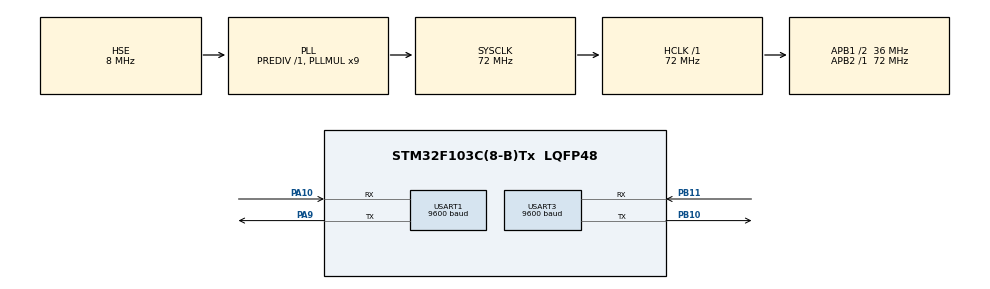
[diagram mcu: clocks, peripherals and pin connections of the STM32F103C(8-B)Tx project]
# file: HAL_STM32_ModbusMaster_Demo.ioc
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Mcu.Family=STM32F1
Mcu.Name=STM32F103C(8-B)Tx
Mcu.Package=LQFP48
NVIC.PriorityGroup=NVIC_PRIORITYGROUP_4
NVIC.TIM3_IRQn=true\:2\:0\:true\:false\:true\:true\:true\:true
NVIC.USART3_IRQn=true\:1\:0\:true\:false\:true\:true\:true\:true
PA10.Mode=Asynchronous
PA10.Signal=USART1_RX
PA13.Mode=Serial_Wire
PA13.Signal=SYS_JTMS-SWDIO
PA14.Mode=Serial_Wire
PA14.Signal=SYS_JTCK-SWCLK
PA9.Mode=Asynchronous
PA9.Signal=USART1_TX
PB10.Mode=Asynchronous
PB10.Signal=USART3_TX
PB11.Mode=Asynchronous
PB11.Signal=USART3_RX
PD0-OSC_IN.Mode=HSE-External-Oscillator
PD0-OSC_IN.Signal=RCC_OSC_IN
PD1-OSC_OUT.Mode=HSE-External-Oscillator
PD1-OSC_OUT.Signal=RCC_OSC_OUT
ProjectManager.HeapSize=0x200
ProjectManager.StackSize=0x400
ProjectManager.TargetToolchain=MDK-ARM V5
RCC.AHBFreq_Value=72000000
RCC.APB1CLKDivider=RCC_HCLK_DIV2
RCC.APB1Freq_Value=36000000
RCC.APB1TimFreq_Value=72000000
RCC.APB2Freq_Value=72000000
RCC.APB2TimFreq_Value=72000000
RCC.HCLKFreq_Value=72000000
RCC.PLLMUL=RCC_PLL_MUL9
RCC.PLLSourceVirtual=RCC_PLLSOURCE_HSE
RCC.SYSCLKFreq_VALUE=72000000
RCC.SYSCLKSource=RCC_SYSCLKSOURCE_PLLCLK
RCC.USBFreq_Value=72000000
TIM3.AutoReloadPreload=TIM_AUTORELOAD_PRELOAD_ENABLE
TIM3.Period=49
TIM3.Prescaler=7199
USART1.BaudRate=9600
USART1.VirtualMode=VM_ASYNC
USART3.BaudRate=9600
USART3.VirtualMode=VM_ASYNC
VP_TIM3_VS_ClockSourceINT.Mode=Internal
board=custom

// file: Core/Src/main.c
/* USER CODE BEGIN Header */
/**
  ******************************************************************************
  * @file           : main.c
  * @brief          : Main program body
  ******************************************************************************
  * @attention
  *
  * <h2><center>&copy; Copyright (c) 2022 STMicroelectronics.
  * All rights reserved.</center></h2>
  *
  * This software component is licensed by ST under BSD 3-Clause license,
  * the "License"; You may not use this file except in compliance with the
  * License. You may obtain a copy of the License at:
  *                        opensource.org/licenses/BSD-3-Clause
  *
  ******************************************************************************
  */
/* USER CODE END Header */
#include "main.h"
#include "tim.h"
#include "usart.h"
#include "gpio.h"

/* USER CODE BEGIN Includes */
#include <stdio.h>
#include <stdlib.h>
#include "mbrtu_master.h"
/* USER CODE END Includes */

void SystemClock_Config(void);

/* USER CODE BEGIN 0 */

#include <string.h>

uint8_t g_Uart3RxByte;

extern int main_example(void);
extern MBRTUMaterTypeDef MBRTUHandle;

int main(void)
{
    HAL_Init();
    SystemClock_Config();
    MX_GPIO_Init();
    MX_TIM3_Init();
    MX_USART1_UART_Init();
    MX_USART3_UART_Init();

    __HAL_TIM_CLEAR_FLAG(&htim3, TIM_FLAG_UPDATE);
    HAL_UART_Receive_IT(&huart3, &g_Uart3RxByte, 1);

	main_example();

    while (1)
    {

    }
}

void HAL_UART_RxCpltCallback(UART_HandleTypeDef *huart)
{
    if(huart->Instance == huart3.Instance)
    {
        MBRTUMasterRecvByteISRCallback(&MBRTUHandle, g_Uart3RxByte);
        HAL_UART_Receive_IT(&huart3, &g_Uart3RxByte, 1);  // 注册接收
    }
}

void HAL_TIM_PeriodElapsedCallback(TIM_HandleTypeDef *htim)
{
    if(htim->Instance == htim3.Instance)
    {
        MBRTUMasterTimerISRCallback(&MBRTUHandle);
    }
}

int fputc(int ch, FILE* fp)
{
    HAL_UART_Transmit(&huart1, (uint8_t *)&ch, 1, 100);
    return ch;
}

/* USER CODE END 0 */

int main2(void)
{

    /* MCU Configuration--------------------------------------------------------*/

    /* Reset of all peripherals, Initializes the Flash interface and the Systick. */
    HAL_Init();

    /* Configure the system clock */
    SystemClock_Config();

    /* Initialize all configured peripherals */
    MX_GPIO_Init();
    MX_TIM3_Init();
    MX_USART1_UART_Init();
    MX_USART3_UART_Init();

    /* Infinite loop */
    while (1)
    {

    }
}

void SystemClock_Config(void)
{
    RCC_OscInitTypeDef RCC_OscInitStruct = {0};
    RCC_ClkInitTypeDef RCC_ClkInitStruct = {0};

    /** Initializes the RCC Oscillators according to the specified parameters
    * in the RCC_OscInitTypeDef structure.
    */
    RCC_OscInitStruct.OscillatorType = RCC_OSCILLATORTYPE_HSE;
    RCC_OscInitStruct.HSEState = RCC_HSE_ON;
    RCC_OscInitStruct.HSEPredivValue = RCC_HSE_PREDIV_DIV1;
    RCC_OscInitStruct.HSIState = RCC_HSI_ON;
    RCC_OscInitStruct.PLL.PLLState = RCC_PLL_ON;
    RCC_OscInitStruct.PLL.PLLSource = RCC_PLLSOURCE_HSE;
    RCC_OscInitStruct.PLL.PLLMUL = RCC_PLL_MUL9;
    if (HAL_RCC_OscConfig(&RCC_OscInitStruct) != HAL_OK)
    {
        Error_Handler();
    }
    /** Initializes the CPU, AHB and APB buses clocks
    */
    RCC_ClkInitStruct.ClockType = RCC_CLOCKTYPE_HCLK|RCC_CLOCKTYPE_SYSCLK
                                  |RCC_CLOCKTYPE_PCLK1|RCC_CLOCKTYPE_PCLK2;
    RCC_ClkInitStruct.SYSCLKSource = RCC_SYSCLKSOURCE_PLLCLK;
    RCC_ClkInitStruct.AHBCLKDivider = RCC_SYSCLK_DIV1;
    RCC_ClkInitStruct.APB1CLKDivider = RCC_HCLK_DIV2;
    RCC_ClkInitStruct.APB2CLKDivider = RCC_HCLK_DIV1;

    if (HAL_RCC_ClockConfig(&RCC_ClkInitStruct, FLASH_LATENCY_2) != HAL_OK)
    {
        Error_Handler();
    }
}

void Error_Handler(void)
{
    __disable_irq();
    while (1)
    {
    }
}

/************************ (C) COPYRIGHT STMicroelectronics *****END OF FILE****/
